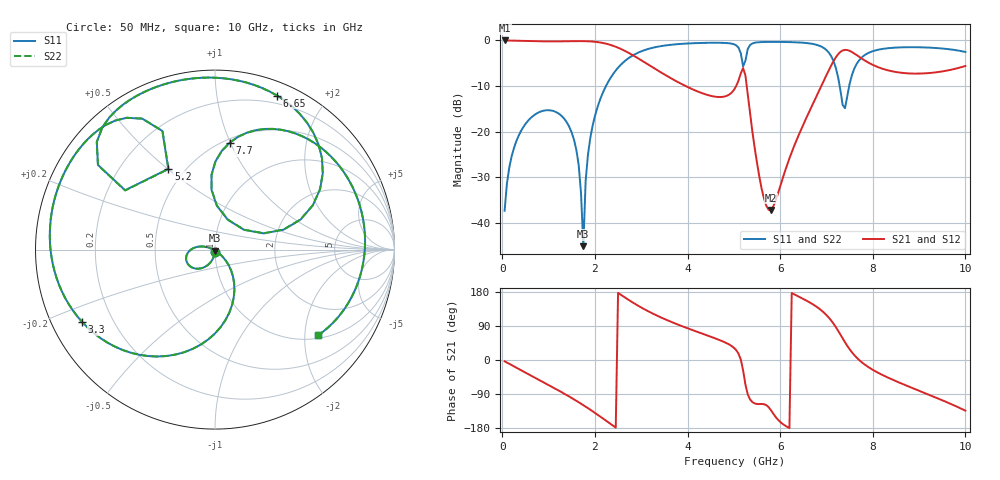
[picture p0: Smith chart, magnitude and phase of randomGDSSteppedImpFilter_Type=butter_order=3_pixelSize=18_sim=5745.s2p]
! freq	dB(S11)	phase(S11)	dB(S12)	phase(S12)
!  dB(S21)	phase(S21)	dB(S22)	phase(S22)
!S-par simulation data
#  GHz  S  DB  R 50
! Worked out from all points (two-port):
!   200 points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, 50 MHz to 10 GHz, reference 50 ohm
!   highest |S21| = -0.01 dB at 50 MHz (marker M1); lowest = -37.2 dB at 5.8 GHz (marker M2)
!   |S21| within 3 dB of the highest: start of sweep to 2.778 GHz; 7.254 GHz to 7.622 GHz (367.8 MHz wide, 4.94 % of centre)
!   lowest |S11| = -45.1 dB at 1.75 GHz (marker M3), VSWR 1.01, Z = 50 - j0.555 ohm
!   |S11| at or under -10 dB: start of sweep to 2.239 GHz; 7.285 GHz to 7.491 GHz (206.4 MHz wide, 2.79 % of centre)
!   |S22| runs from -45.3 to -0.3 dB; largest |S21 - S12| = 0
!   S11 on the Smith chart (normalised r, x): 50 MHz: 1.00, -0.03; 3.3 GHz: 0.09, -0.25; 5.2 GHz: 0.41, +0.50; 6.65 GHz: 0.12, +1.47; 7.7 GHz: 0.53, +0.99; 10 GHz: 1.08, -2.33
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0.05  -37.35 -92.9  -0.01 -3.4  -0.01 -3.4  -37.35 -92.9
0.4  -19.93 -117.0  -0.08 -26.7  -0.08 -26.7  -19.93 -117.0
1.15  -15.65 -166.1  -0.21 -76.1  -0.21 -76.1  -15.65 -166.2
1.6  -24.04 164.8  -0.15 -107.7  -0.15 -107.7  -24.04 164.7
1.75  -45.11 -89.9  -0.16 -119.2  -0.16 -119.2  -45.33 -89.2
1.85  -25.02 -42.9  -0.19 -127.1  -0.19 -127.1  -25.02 -42.7
2.1  -13.31 -60.4  -0.43 -148.0  -0.43 -148.0  -13.31 -60.4
2.7  -4.09 -110.6  -2.57 160.8  -2.57 160.8  -4.09 -110.6
3.3  -1.49 -151.4  -6.23 119.5  -6.23 119.5  -1.49 -151.3
3.4  -1.29 -157.0  -6.85 113.8  -6.85 113.8  -1.29 -157.0
5.05  -1.07 123.8  -10.03 26.2  -10.03 26.2  -1.07 123.8
5.2  -5.69 120.1  -6.05 -27.4  -6.05 -27.4  -5.71 120.0
5.35  -1.00 137.7  -16.05 -104.0  -16.05 -104.0  -1.01 137.7
5.8  -0.32 110.0  -37.19 -132.3  -37.19 -132.3  -0.32 110.0
6.65  -0.68 68.0  -15.14 151.1  -15.14 151.1  -0.68 68.0
6.7  -0.76 64.8  -14.07 147.4  -14.07 147.4  -0.76 64.8
7.05  -2.66 35.3  -6.55 111.9  -6.55 111.9  -2.66 35.4
7.3  -10.86 18.4  -2.52 67.4  -2.52 67.4  -10.85 18.5
7.4  -14.85 66.8  -2.07 46.9  -2.07 46.9  -14.82 66.7
7.7  -4.43 82.2  -3.55 0.6  -3.55 0.6  -4.42 82.2
8.35  -1.68 41.5  -6.61 -47.7  -6.61 -47.7  -1.68 41.5
10  -2.53 -39.8  -5.60 -133.7  -5.60 -133.7  -2.53 -39.8
